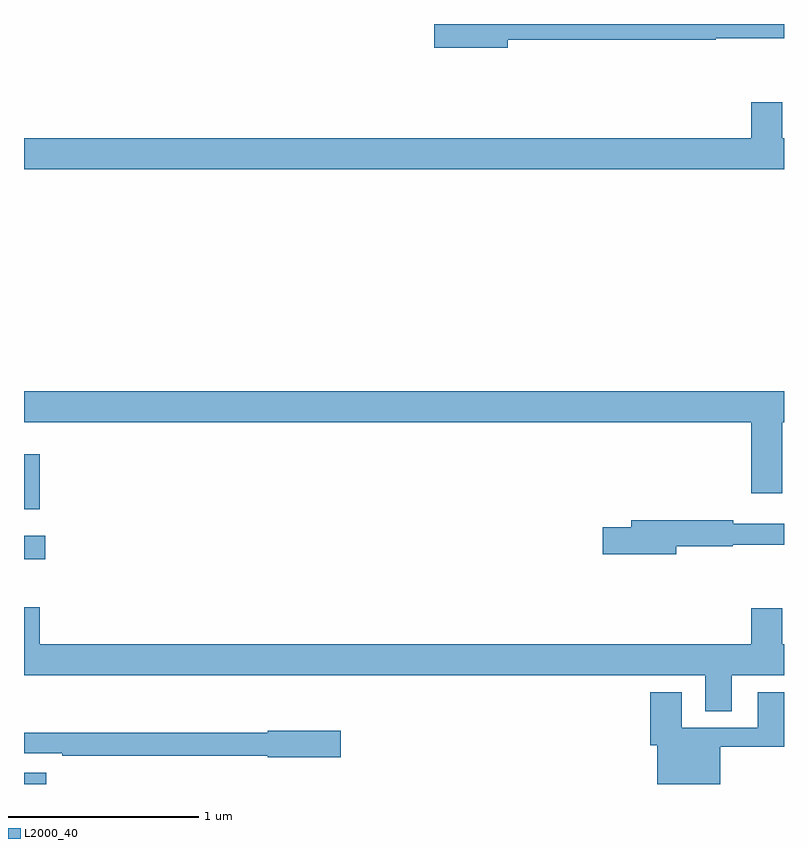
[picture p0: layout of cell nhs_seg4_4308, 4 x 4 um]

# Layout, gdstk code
import gdstk
lib = gdstk.Library(unit=1e-6, precision=1e-09)
def R(c, l, rs):  # rectangles x0, y0, x1, y1
    for r in rs: c.add(gdstk.rectangle(r[:2], r[2:], *l))
def P(c, l, *ps):  # polygons
    for p in ps: c.add(gdstk.Polygon(p, *l))
L2000_40 = (2000, 40)

nhs_seg4_4308 = lib.new_cell('nhs_seg4_4308')
R(nhs_seg4_4308, L2000_40, [(341,810.9,341.117,810.958), (341,812.084,341.113,812.206), (341,812.345,341.084,812.635)])
P(nhs_seg4_4308, L2000_40, [(343.546,814.816),(344.642,814.816),(344.642,814.824),(345,814.824),(345,814.9),(343.158,814.9),(343.158,814.774),(343.546,814.774)],
  [(345,814.3),(344.992,814.3),(344.992,814.489),(344.828,814.489),(344.828,814.3),(341,814.3),(341,814.136),(345,814.136)],
  [(344.992,812.804),(345,812.804),(345,812.968),(341,812.968),(341,812.804),(344.828,812.804),(344.828,812.43),(344.992,812.43)],
  [(344.434,812.152),(344.73,812.152),(344.73,812.16),(345,812.16),(345,812.269),(344.732,812.269),(344.732,812.288),(344.195,812.288),(344.195,812.252),(344.046,812.252),(344.046,812.11),(344.434,812.11)],
  [(344.725,811.472),(345,811.472),(345,811.636),(344.992,811.636),(344.992,811.825),(344.828,811.825),(344.828,811.636),(341.084,811.636),(341.084,811.831),(341,811.831),(341,811.472),(344.585,811.472),(344.585,811.282),(344.725,811.282)],
  [(344.665,811.096),(345,811.096),(345,811.384),(344.861,811.384),(344.861,811.197),(344.461,811.197),(344.461,811.384),(344.297,811.384),(344.297,811.104),(344.333,811.104),(344.333,810.9),(344.665,810.9)],
  [(342.667,811.179),(342.282,811.179),(342.282,811.171),(341,811.171),(341,811.062),(341.2,811.062),(341.2,811.05),(342.282,811.05),(342.282,811.042),(342.667,811.042)])

lib.write_gds('nhs_seg4_4308.gds')
